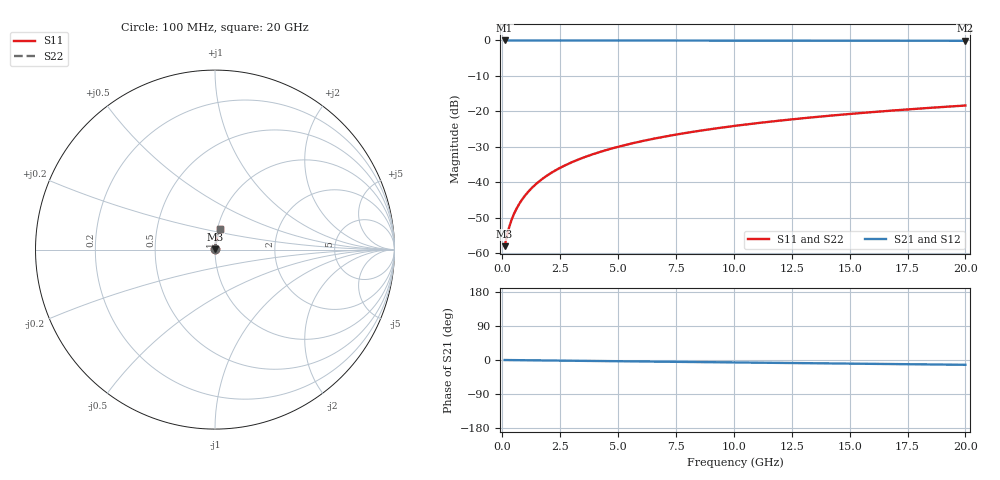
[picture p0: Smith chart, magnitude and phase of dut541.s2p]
! Touchstone file exported from HFSS 2026.1.0
!  File:  C:/ffzhzh/LocalFiles/Ansys_Project_Files/temp_train_BSMRDL_541_1783014925_55676.aedt
!  Generated:  01:56:45 AM Jul  3, 2026
!  Design:  BSMRDL
!  Project:  temp_train_BSMRDL_541_1783014925_55676
! Variables:
!  h_bsmrdl = 3.31um
!  h_ox = 20um
!  h_rdl = 5um
!  h_sub = 80um
!  h_tmrdl = 5um
!  h_tsv = 80um
!  h_via = 3um
!  l_bsmrdl = 157.67um
!  l_sub = 557.67um
!  l_tmrdl = 200um
!  m_sub = 200um
!  pitch = 41.45um
!  r_tsv = 6um
!  s_tmrdl = 10um
!  w_bsmrdl = 21.22um
!  w_sub = 500um
!  w_tmrdl = 12um
!  x_tsv_center1 = 206um
!  x_tsv_center2 = 384.89um
!  x_tsv_center3 = 596.89um
!  x_tsv_center4 = 775.78um
!  x_tsv_center5 = 987.78um
!  x_tsv_center6 = 1166.67um
# GHz S MA R 50.000000
! Terminal data exported
! Port[1] = BSM_RDL1_1_T1
! Port[2] = BSM_RDL1_1_T2
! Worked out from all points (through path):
!   200 points, 100 MHz to 20 GHz, reference 50 ohm
!   highest |S21| = -0.01 dB at 100 MHz (marker M1); lowest = -0.1 dB at 20 GHz (marker M2)
!   group delay of S21, straight-line fit = 1.76 ps
!   lowest |S11| = -58.1 dB at 100 MHz (marker M3), VSWR 1.00, Z = 50.1 + j0.0706 ohm
!   |S11| at or under -10 dB: start of sweep to end of sweep
!   |S22| runs from -58.1 to -18.4 dB; largest |S21 - S12| = 2e-15
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0.1  0.001251 34.3  0.999 -0.1  0.999 -0.1  0.001251 34.3
! Gamma 0 0 0 0
! Port Impedance 50 0 50 0
0.2  0.001758 52.1  0.9989 -0.1  0.9989 -0.1  0.001758 52.1
0.3  0.002338 61.0  0.9989 -0.2  0.9989 -0.2  0.002338 61.0
0.4  0.002933 66.3  0.9988 -0.3  0.9988 -0.3  0.002933 66.3
0.5  0.003533 69.8  0.9988 -0.3  0.9988 -0.3  0.003533 69.8
0.6  0.004137 72.3  0.9988 -0.4  0.9988 -0.4  0.004137 72.3
0.8  0.005354 75.8  0.9987 -0.5  0.9987 -0.5  0.005354 75.8
1.1  0.007202 78.8  0.9987 -0.7  0.9987 -0.7  0.007202 78.8
1.3  0.008444 80.1  0.9986 -0.8  0.9986 -0.8  0.008444 80.1
1.6  0.01032 81.4  0.9986 -1.0  0.9986 -1.0  0.01032 81.4
2.1  0.01345 82.6  0.9985 -1.4  0.9985 -1.4  0.01345 82.6
2.7  0.01721 83.3  0.9984 -1.8  0.9984 -1.8  0.01721 83.3
3.5  0.02222 83.6  0.9981 -2.3  0.9981 -2.3  0.02222 83.6
4.2  0.02658 83.6  0.9979 -2.7  0.9979 -2.7  0.02658 83.6
5  0.03155 83.4  0.9976 -3.2  0.9976 -3.2  0.03155 83.4
5.9  0.03711 83.1  0.9973 -3.8  0.9973 -3.8  0.03711 83.1
6.8  0.04264 82.7  0.9969 -4.4  0.9969 -4.4  0.04264 82.7
8.3  0.05178 81.9  0.9962 -5.3  0.9962 -5.3  0.05178 81.9
10.1  0.06264 80.9  0.9952 -6.5  0.9952 -6.5  0.06264 80.9
13.4  0.08229 79.1  0.9933 -8.6  0.9933 -8.6  0.08229 79.1
16.7  0.1017 77.2  0.991 -10.6  0.991 -10.6  0.1016 77.2
20  0.1207 75.4  0.9885 -12.7  0.9885 -12.7  0.1207 75.4
